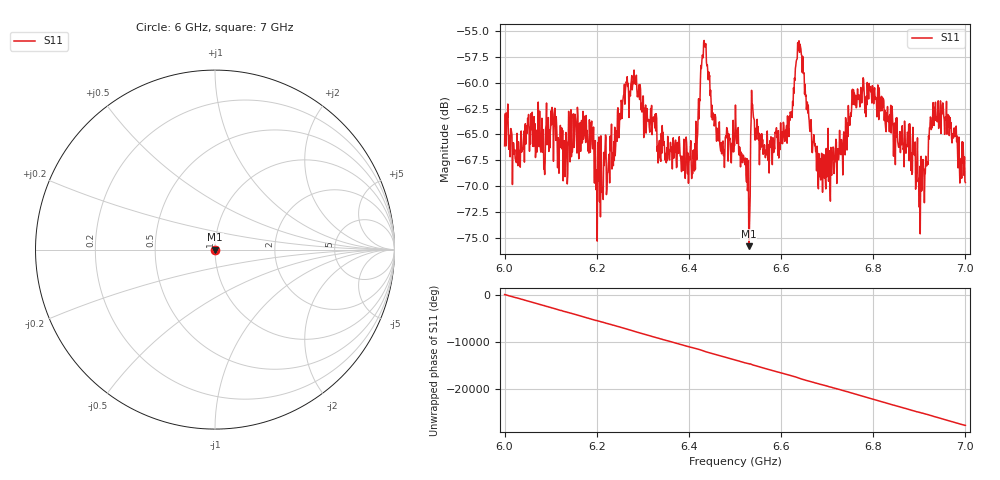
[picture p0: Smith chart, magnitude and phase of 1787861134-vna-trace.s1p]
! Created with skrf 1.10.0 (http://scikit-rf.org).
# Hz S RI R 50.0
!freq ReS11 ImS11
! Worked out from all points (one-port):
!   1001 points, 6 GHz to 7 GHz, reference 50 ohm
!   lowest |S11| = -75.8 dB at 6.53 GHz (marker M1), VSWR 1.00, Z = 50 + j0.0153 ohm
!   |S11| at or under -10 dB: start of sweep to end of sweep
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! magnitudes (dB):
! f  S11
! 6 GHz  -66.1
! 6.083 GHz  -66.7
! 6.105 GHz  -63.0
! 6.125 GHz  -66.4
! 6.175 GHz  -64.6
! 6.211 GHz  -70.6
! 6.25 GHz  -63.0
! 6.281 GHz  -58.7
! 6.336 GHz  -65.6
! 6.375 GHz  -65.8
! 6.412 GHz  -68.5
! 6.433 GHz  -55.9
! 6.472 GHz  -65.8
! 6.5 GHz  -64.5
! 6.53 GHz  -75.8
! 6.539 GHz  -62.7
! 6.57 GHz  -64.7
! 6.625 GHz  -61.8
! 6.64 GHz  -57.0
! 6.685 GHz  -68.6
! 6.734 GHz  -68.9
! 6.75 GHz  -63.5
! 6.794 GHz  -60.3
! 6.875 GHz  -64.9
! 6.902 GHz  -74.6
! 6.925 GHz  -63.4
! 6.949 GHz  -63.0
! 7 GHz  -69.7
